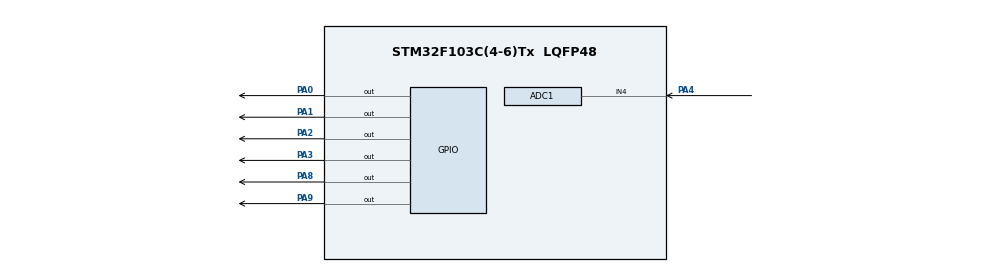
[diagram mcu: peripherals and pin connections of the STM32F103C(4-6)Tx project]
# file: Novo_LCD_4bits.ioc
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Mcu.Family=STM32F1
ADC1.Rank-0\#ChannelRegularConversion=1
ProjectManager.StackSize=0x400
PA0-WKUP.Signal=GPIO_Output
PA13.Signal=SYS_JTMS-SWDIO
ProjectManager.TargetToolchain=STM32CubeIDE
PA9.Signal=GPIO_Output
PA1.Signal=GPIO_Output
ADC1.Channel-0\#ChannelRegularConversion=ADC_CHANNEL_4
board=custom
RCC.APB2Freq_Value=8000000
PA14.Mode=Serial_Wire
SH.ADCx_IN4.0=ADC1_IN4,IN4
PA8.Signal=GPIO_Output
PA13.Mode=Serial_Wire
Mcu.Name=STM32F103C(4-6)Tx
ADC1.SamplingTime-0\#ChannelRegularConversion=ADC_SAMPLETIME_1CYCLE_5
PA2.Signal=GPIO_Output
PA4.Signal=ADCx_IN4
Mcu.Package=LQFP48
ADC1.master=1
PA14.Signal=SYS_JTCK-SWCLK
ProjectManager.HeapSize=0x200
NVIC.PriorityGroup=NVIC_PRIORITYGROUP_4
ADC1.NbrOfConversionFlag=1
RCC.APB1Freq_Value=8000000
PA3.Signal=GPIO_Output

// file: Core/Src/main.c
/* USER CODE BEGIN Header */
/**
  ******************************************************************************
  * @file           : main.c
  * @brief          : Main program body
  ******************************************************************************
  * @attention
  *
  * <h2><center>&copy; Copyright (c) 2021 STMicroelectronics.
  * All rights reserved.</center></h2>
  *
  * This software component is licensed by ST under BSD 3-Clause license,
  * the "License"; You may not use this file except in compliance with the
  * License. You may obtain a copy of the License at:
  *                        opensource.org/licenses/BSD-3-Clause
  *
  ******************************************************************************
  */
/* USER CODE END Header */
#include "main.h"

/* USER CODE BEGIN Includes */

#include "stdio.h"

/* USER CODE END Includes */

/* USER CODE BEGIN PD */

#define cursor_apagado	0x0c
#define cursor_aceso	0x0e
#define cursor_piscando	0x0f

#define en_0	GPIOA -> BRR  = 1<<9
#define en_1	GPIOA -> BSRR = 1<<9
#define rs_0	GPIOA -> BRR  = 1<<8
#define rs_1	GPIOA -> BSRR = 1<<8

#define d7_0	GPIOA -> BRR  = 1 << 3
#define d7_1	GPIOA -> BSRR = 1 << 3
#define d6_0	GPIOA -> BRR  = 1 << 2
#define d6_1	GPIOA -> BSRR = 1 << 2
#define d5_0	GPIOA -> BRR  = 1 << 1
#define d5_1	GPIOA -> BSRR = 1 << 1
#define d4_0	GPIOA -> BRR  = 1 << 0
#define d4_1	GPIOA -> BSRR = 1 << 0

/* USER CODE END PD */

ADC_HandleTypeDef hadc1;

/* USER CODE BEGIN PV */

const uint8_t tab_char[24] = {	0x0e, 0x1b, 0x11, 0x11, 0x11, 0x11, 0x1f, 0x00,
								0x0e, 0x1b, 0x11, 0x11, 0x1f, 0x1f, 0x1f, 0x00,
								0x0e, 0x1b, 0x1f, 0x1f, 0x1f, 0x1f, 0x1f, 0x00,
							};

/* USER CODE END PV */

void SystemClock_Config(void);
static void MX_GPIO_Init(void);
static void MX_ADC1_Init(void);
/* USER CODE BEGIN PFP */

void lcd_wrcom(uint8_t com);
void lcd_wrchar(char ch);
void lcd_init(uint8_t cursor);
void lcd_clear (void);
void lcd_goto(uint8_t x, uint8_t y);
void lcd_wrstr(char *str);

void lcd_pgrchar(uint8_t n);

/* USER CODE END PFP */

/* USER CODE BEGIN 0 */

int __io_putchar(int ch)
{
	lcd_wrchar(ch);
	return ch;
}

/* USER CODE END 0 */

int main(void)
{
  /* USER CODE BEGIN 1 */

	//char str[20];
	int leitura;
	float volts;

  /* USER CODE END 1 */

  /* MCU Configuration--------------------------------------------------------*/

  /* Reset of all peripherals, Initializes the Flash interface and the Systick. */
  HAL_Init();

  /* Configure the system clock */
  SystemClock_Config();

  /* Initialize all configured peripherals */
  MX_GPIO_Init();
  MX_ADC1_Init();
  /* USER CODE BEGIN 2 */

  lcd_init(cursor_aceso);
  lcd_goto(0,0);

  HAL_ADC_Init(&hadc1);

  /* USER CODE END 2 */

  /* Infinite loop */
  while (1)
  {

    /* USER CODE BEGIN 3 */

	  HAL_ADC_Start(&hadc1);
	  HAL_ADC_PollForConversion(&hadc1, 10);
	  leitura = HAL_ADC_GetValue(&hadc1);
	  HAL_ADC_Stop(&hadc1);
	  HAL_Delay(100);

	  lcd_goto(0,0);
	  printf("%4d\n", leitura);
	  volts = leitura*0.0805886081;
	  lcd_goto(0,1);
	  printf("%.2f%cC\n", volts, 223);

	  /*for(k=0; k<100; k++)
	  {
		  lcd_goto(0,1);
		  printf("%02d\n", k);
		  HAL_Delay(100);
	  }*/
  }
  /* USER CODE END 3 */
}

void SystemClock_Config(void)
{
  RCC_OscInitTypeDef RCC_OscInitStruct = {0};
  RCC_ClkInitTypeDef RCC_ClkInitStruct = {0};
  RCC_PeriphCLKInitTypeDef PeriphClkInit = {0};

  /** Initializes the RCC Oscillators according to the specified parameters
  * in the RCC_OscInitTypeDef structure.
  */
  RCC_OscInitStruct.OscillatorType = RCC_OSCILLATORTYPE_HSI;
  RCC_OscInitStruct.HSIState = RCC_HSI_ON;
  RCC_OscInitStruct.HSICalibrationValue = RCC_HSICALIBRATION_DEFAULT;
  RCC_OscInitStruct.PLL.PLLState = RCC_PLL_NONE;
  if (HAL_RCC_OscConfig(&RCC_OscInitStruct) != HAL_OK)
  {
    Error_Handler();
  }
  /** Initializes the CPU, AHB and APB buses clocks
  */
  RCC_ClkInitStruct.ClockType = RCC_CLOCKTYPE_HCLK|RCC_CLOCKTYPE_SYSCLK
                              |RCC_CLOCKTYPE_PCLK1|RCC_CLOCKTYPE_PCLK2;
  RCC_ClkInitStruct.SYSCLKSource = RCC_SYSCLKSOURCE_HSI;
  RCC_ClkInitStruct.AHBCLKDivider = RCC_SYSCLK_DIV1;
  RCC_ClkInitStruct.APB1CLKDivider = RCC_HCLK_DIV1;
  RCC_ClkInitStruct.APB2CLKDivider = RCC_HCLK_DIV1;

  if (HAL_RCC_ClockConfig(&RCC_ClkInitStruct, FLASH_LATENCY_0) != HAL_OK)
  {
    Error_Handler();
  }
  PeriphClkInit.PeriphClockSelection = RCC_PERIPHCLK_ADC;
  PeriphClkInit.AdcClockSelection = RCC_ADCPCLK2_DIV2;
  if (HAL_RCCEx_PeriphCLKConfig(&PeriphClkInit) != HAL_OK)
  {
    Error_Handler();
  }
}

static void MX_ADC1_Init(void)
{

  ADC_ChannelConfTypeDef sConfig = {0};

  /** Common config
  */
  hadc1.Instance = ADC1;
  hadc1.Init.ScanConvMode = ADC_SCAN_DISABLE;
  hadc1.Init.ContinuousConvMode = DISABLE;
  hadc1.Init.DiscontinuousConvMode = DISABLE;
  hadc1.Init.ExternalTrigConv = ADC_SOFTWARE_START;
  hadc1.Init.DataAlign = ADC_DATAALIGN_RIGHT;
  hadc1.Init.NbrOfConversion = 1;
  if (HAL_ADC_Init(&hadc1) != HAL_OK)
  {
    Error_Handler();
  }
  /** Configure Regular Channel
  */
  sConfig.Channel = ADC_CHANNEL_4;
  sConfig.Rank = ADC_REGULAR_RANK_1;
  sConfig.SamplingTime = ADC_SAMPLETIME_1CYCLE_5;
  if (HAL_ADC_ConfigChannel(&hadc1, &sConfig) != HAL_OK)
  {
    Error_Handler();
  }

}

static void MX_GPIO_Init(void)
{
  GPIO_InitTypeDef GPIO_InitStruct = {0};

  /* GPIO Ports Clock Enable */
  __HAL_RCC_GPIOA_CLK_ENABLE();

  /*Configure GPIO pin Output Level */
  HAL_GPIO_WritePin(GPIOA, GPIO_PIN_0|GPIO_PIN_1|GPIO_PIN_2|GPIO_PIN_3
                          |GPIO_PIN_8|GPIO_PIN_9, GPIO_PIN_RESET);

  /*Configure GPIO pins : PA0 PA1 PA2 PA3
                           PA8 PA9 */
  GPIO_InitStruct.Pin = GPIO_PIN_0|GPIO_PIN_1|GPIO_PIN_2|GPIO_PIN_3
                          |GPIO_PIN_8|GPIO_PIN_9;
  GPIO_InitStruct.Mode = GPIO_MODE_OUTPUT_PP;
  GPIO_InitStruct.Pull = GPIO_NOPULL;
  GPIO_InitStruct.Speed = GPIO_SPEED_FREQ_LOW;
  HAL_GPIO_Init(GPIOA, &GPIO_InitStruct);

}

/* USER CODE BEGIN 4 */
void udelay(void)
{
	int tempo = 7;
	while(tempo--);
}

void delayus(int tempo)
{
	while(tempo--) udelay();
}

// Recebe 4 bits e coloca bit0 --> D4 LCD
//						  bit1 --> D5 LCD
//						  bit2 --> D6 LCD
//						  bit3 --> D7 LCD

void lcd_send4bits(uint8_t dat)
{
	if((dat & (1<<0)) == 0) d4_0; else d4_1;
	if((dat & (1<<1)) == 0) d5_0; else d5_1;
	if((dat & (1<<2)) == 0) d6_0; else d6_1;
	if((dat & (1<<3)) == 0) d7_0; else d7_1;
}

//Comando de 4 bits
void lcd_wrcom4(uint8_t com)
{
	lcd_send4bits(com);
	rs_0;
	en_1;
	delayus(5);
	en_0;
	HAL_Delay(5);
}

// Comando de 8 bits
// com D7...D4 D3 ... D0
void lcd_wrcom(uint8_t com)
{
	lcd_send4bits(com>>4);
	rs_0;
	en_1;
	delayus(5);
	en_0;

	lcd_send4bits(com);
	en_1;
	delayus(5);
	en_0;
	HAL_Delay(5);

}

void lcd_wrchar(char ch)
{
	lcd_send4bits(ch>>4);
	rs_1;
	en_1;
	delayus(5);
	en_0;
	HAL_Delay(5);

	lcd_send4bits(ch);
	en_1;
	delayus(5);
	en_0;
	HAL_Delay(5);
}

void lcd_init(uint8_t cursor)
{
	lcd_wrcom4(3);
	lcd_wrcom4(3);
	lcd_wrcom4(3);
	lcd_wrcom4(2);

	lcd_wrcom(0x28);
	lcd_wrcom(cursor);
	lcd_wrcom(0x06);
	lcd_wrcom(0x01);
}

void lcd_clear (void)
{
	lcd_wrcom(0x01);
}

void lcd_goto(uint8_t x, uint8_t y)
{
	uint8_t com = 0x80;
	if(y==0) com = 0x80 + x;
	if(y==1) com = 0xC0 + x;
	if(y==2) com = 0x90 + x;
	if(y==3) com = 0xD0 + x;

	lcd_wrcom(com);
}

void lcd_wrstr(char *str)
{
	while(*str) lcd_wrchar(*(str++));
}

void lcd_pgrchar(uint8_t n)
{
	uint8_t k;
	lcd_wrcom(0x40);
	for(k=0;k<(8*n);k++)
	{
		lcd_wrchar(tab_char[k]);
	}
	lcd_wrcom(0x80);
}
/* USER CODE END 4 */

void Error_Handler(void)
{
  __disable_irq();
  while (1)
  {
  }
}

/************************ (C) COPYRIGHT STMicroelectronics *****END OF FILE****/
